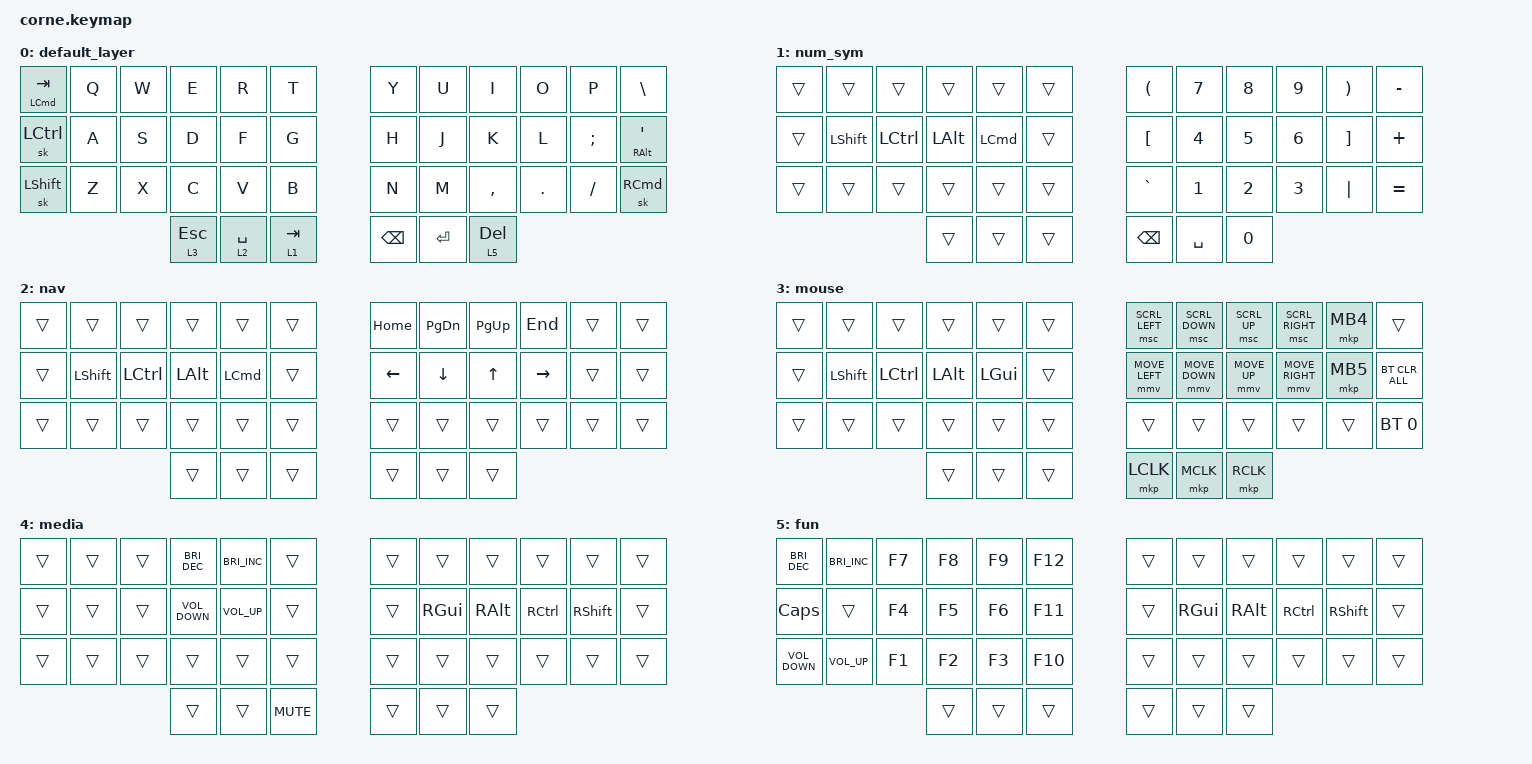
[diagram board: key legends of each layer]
/*
 * Copyright 2024 Michał Minarowski (@n3oney)
 * 
 * Originally created for QMK by Mark Stosberg (@markstos)
 * 
 * SPDX-License-Identifier: GPL-2.0-or-later
 */

#define ZMK_POINTING_DEFAULT_MOVE_VAL 1000  // default: 600
#define ZMK_POINTING_DEFAULT_SCRL_VAL 20    // default: 10

#include <behaviors.dtsi>
#include <dt-bindings/zmk/bt.h>
#include <dt-bindings/zmk/keys.h>
#include <dt-bindings/zmk/pointing.h>

&lt { tapping-term-ms = <300>; };

/ {
    combos { compatible = "zmk,combos"; };

    keymap {
        compatible = "zmk,keymap";

        default_layer {
            bindings = <
&mt LEFT_COMMAND TAB  &kp Q  &kp W  &kp E         &kp R        &kp T        &kp Y          &kp U      &kp I         &kp O    &kp P          &kp BACKSLASH
&sk LEFT_CONTROL      &kp A  &kp S  &kp D         &kp F        &kp G        &kp H          &kp J      &kp K         &kp L    &kp SEMICOLON  &mt RIGHT_ALT SQT
&sk LSHFT             &kp Z  &kp X  &kp C         &kp V        &kp B        &kp N          &kp M      &kp COMMA     &kp DOT  &kp FSLH       &sk RIGHT_COMMAND
                                    &lt 3 ESCAPE  &lt 2 SPACE  &lt 1 TAB    &kp BACKSPACE  &kp ENTER  &lt 5 DELETE
            >;
        };

        num_sym {
            bindings = <
&trans  &trans          &trans            &trans        &trans            &trans    &kp LEFT_PARENTHESIS  &kp N7        &kp N8        &kp N9        &kp RIGHT_PARENTHESIS  &kp MINUS
&trans  &kp LEFT_SHIFT  &kp LEFT_CONTROL  &kp LEFT_ALT  &kp LEFT_COMMAND  &trans    &kp LEFT_BRACKET      &kp NUMBER_4  &kp N5        &kp NUMBER_6  &kp RIGHT_BRACKET      &kp PLUS
&trans  &trans          &trans            &trans        &trans            &trans    &kp GRAVE             &kp NUMBER_1  &kp NUMBER_2  &kp NUMBER_3  &kp PIPE               &kp EQUAL
                                          &trans        &trans            &trans    &kp BACKSPACE         &kp SPACE     &kp NUMBER_0
            >;
        };

        nav {
            bindings = <
&trans  &trans          &trans            &trans        &trans            &trans    &kp HOME  &kp PAGE_DOWN  &kp PAGE_UP   &kp END    &trans  &trans
&trans  &kp LEFT_SHIFT  &kp LEFT_CONTROL  &kp LEFT_ALT  &kp LEFT_COMMAND  &trans    &kp LEFT  &kp DOWN       &kp UP_ARROW  &kp RIGHT  &trans  &trans
&trans  &trans          &trans            &trans        &trans            &trans    &trans    &trans         &trans        &trans     &trans  &trans
                                          &trans        &trans            &trans    &trans    &trans         &trans
            >;
        };

        mouse {
            bindings = <
&trans  &trans     &trans     &trans    &trans    &trans    &msc SCRL_LEFT  &msc SCRL_DOWN  &msc SCRL_UP  &msc SCRL_RIGHT  &mkp MB4  &trans
&trans  &kp LSHFT  &kp LCTRL  &kp LALT  &kp LGUI  &trans    &mmv MOVE_LEFT  &mmv MOVE_DOWN  &mmv MOVE_UP  &mmv MOVE_RIGHT  &mkp MB5  &bt BT_CLR_ALL
&trans  &trans     &trans     &trans    &trans    &trans    &trans          &trans          &trans        &trans           &trans    &bt BT_SEL 0
                              &trans    &trans    &trans    &mkp LCLK       &mkp MCLK       &mkp RCLK
            >;
        };

        media {
            bindings = <
&trans  &trans  &trans  &kp C_BRIGHTNESS_DEC  &kp C_BRIGHTNESS_INC  &trans        &trans  &trans    &trans    &trans     &trans     &trans
&trans  &trans  &trans  &kp C_VOLUME_DOWN     &kp C_VOLUME_UP       &trans        &trans  &kp RGUI  &kp RALT  &kp RCTRL  &kp RSHFT  &trans
&trans  &trans  &trans  &trans                &trans                &trans        &trans  &trans    &trans    &trans     &trans     &trans
                        &trans                &trans                &kp K_MUTE    &trans  &trans    &trans
            >;
        };

        fun {
            bindings = <
&kp C_BRIGHTNESS_DEC  &kp C_BRIGHTNESS_INC  &kp F7  &kp F8  &kp F9  &kp F12    &trans  &trans    &trans    &trans     &trans     &trans
&kp CAPS              &trans                &kp F4  &kp F5  &kp F6  &kp F11    &trans  &kp RGUI  &kp RALT  &kp RCTRL  &kp RSHFT  &trans
&kp C_VOLUME_DOWN     &kp C_VOLUME_UP       &kp F1  &kp F2  &kp F3  &kp F10    &trans  &trans    &trans    &trans     &trans     &trans
                                                    &trans  &trans  &trans     &trans  &trans    &trans
            >;
        };
    };
};
